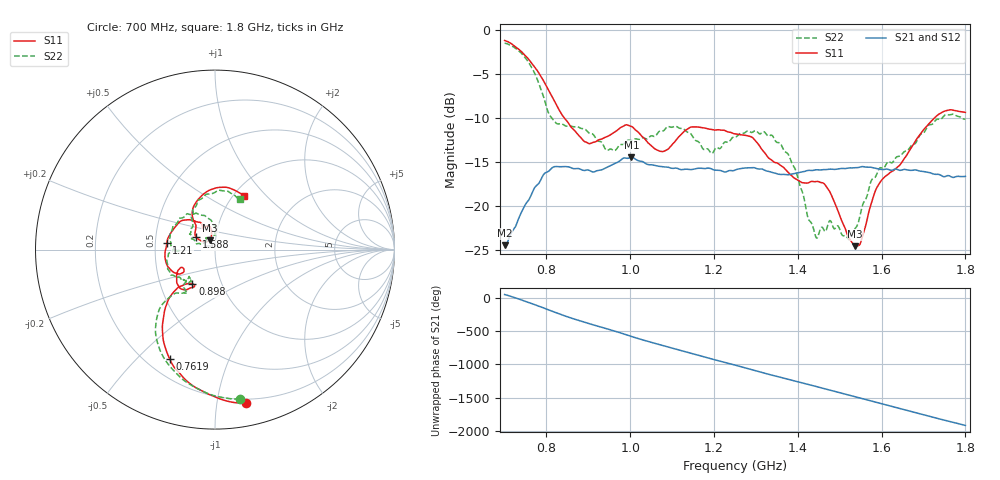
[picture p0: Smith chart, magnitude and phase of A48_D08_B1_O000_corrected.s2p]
! Created with skrf 1.9.0 (http://scikit-rf.org).
# Hz S RI R 50.0
!freq ReS11 ImS11 ReS21 ImS21 ReS12 ImS12 ReS22 ImS22
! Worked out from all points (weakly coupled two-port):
!   1601 points, 700 MHz to 1.8 GHz, reference 50 ohm
!   highest |S21| = -14.45 dB at 1.002 GHz (marker M1); lowest = -24.4 dB at 700.7 MHz (marker M2)
!   lowest |S11| = -24.5 dB at 1.537 GHz (marker M3), VSWR 1.13, Z = 47 + j4.95 ohm
!   |S11| at or under -10 dB: 843 MHz to 1.725 GHz (882.5 MHz wide, 68.7 % of centre)
!   |S22| runs from -23.8 to -1.5 dB; largest |S21 - S12| = 0.0036
!   S11 on the Smith chart (normalised r, x): 700 MHz: 0.17, -1.21; 761.9 MHz: 0.29, -0.63; 898 MHz: 0.73, -0.29; 1.21 GHz: 0.57, +0.04; 1.588 GHz: 0.80, +0.11; 1.8 GHz: 1.12, +0.76
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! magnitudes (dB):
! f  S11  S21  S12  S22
! 700 MHz  -1.2  -24.4  -24.2  -1.5
! 700.7 MHz  -1.2  -24.4  -24.1  -1.5
! 761.9 MHz  -3.6  -18.9  -18.8  -4.0
! 815.5 MHz  -7.7  -15.6  -15.6  -10.2
! 883.6 MHz  -12.3  -15.9  -15.7  -11.2
! 898 MHz  -12.8  -15.9  -15.9  -11.5
! 944.8 MHz  -12.1  -15.6  -15.6  -13.7
! 1.002 GHz  -10.9  -14.4  -14.6  -12.6
! 1.067 GHz  -13.7  -15.4  -15.4  -11.6
! 1.143 GHz  -11.0  -15.8  -15.8  -11.7
! 1.21 GHz  -11.3  -15.9  -15.9  -13.4
! 1.25 GHz  -11.8  -15.9  -15.8  -12.1
! 1.359 GHz  -15.4  -16.4  -16.4  -12.9
! 1.394 GHz  -16.9  -16.3  -16.2  -15.9
! 1.434 GHz  -17.2  -15.9  -15.9  -22.0
! 1.471 GHz  -18.0  -15.8  -15.8  -22.3
! 1.537 GHz  -24.5  -15.6  -15.6  -22.5
! 1.551 GHz  -23.9  -15.5  -15.5  -20.5
! 1.588 GHz  -18.0  -15.7  -15.7  -16.4
! 1.617 GHz  -16.3  -15.8  -15.8  -14.9
! 1.733 GHz  -9.7  -16.4  -16.4  -10.1
! 1.8 GHz  -9.3  -16.6  -16.6  -10.1
